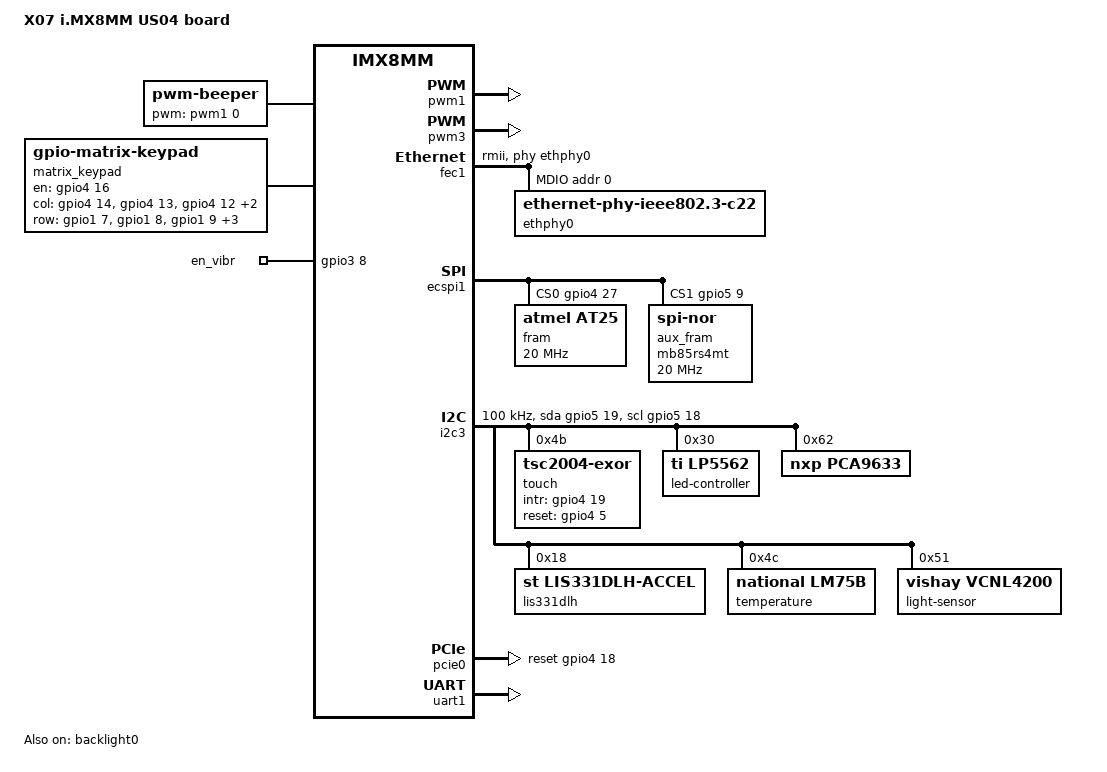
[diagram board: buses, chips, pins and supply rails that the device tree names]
/*
 * Copyright (C) 2019 Exor S.p.a
 * 
 * Written by: G. Pavoni Exor S.p.a.
 * 
 * Copyright (C) 2013 Freescale Semiconductor, Inc.
 *
 * This program is free software; you can redistribute it and/or modify
 * it under the terms of the GNU General Public License version 2 as
 * published by the Free Software Foundation.
 */
  
/dts-v1/;
  
#include "imx8mm_us04.dtsi"
#include <dt-bindings/leds/common.h>
  
/ {
	model = "X07 i.MX8MM US04 board";

	aliases {
		serial0 = &uart1;
		serial1 = &uart2;
		serial2 = &uart4;
	};
	
	beeper {
		compatible = "pwm-beeper";
		pwms = <&pwm1 0 50000 0>;
	};

	working_hours {
	  compatible = "working_hours";
	  nvmem-names = "eeprom", "rtcnvram";
	  nvmem = <&seeprom0>, <&m41t83>;
	  has-blight;
	  status = "okay";
	};	
	
	matrix_keypad {
		compatible = "gpio-matrix-keypad";
		pinctrl-names = "default";
		pinctrl-0 = <&pinctrl_keypad>;
		debounce-delay-ms = <20>;
		col-scan-delay-ms = <8>;
		gpio-activelow;
		gpio-colactivehigh;
		engpio = <&gpio4 16 0>;
		//shutdown-code=<0x003C003F>;	/* KEY_F2 (003C) + KEY_F5 (003F) */
		shutdown-count=<70>;		/* 70 * 70mS = 5 secs */
		status = "okay";

		/* Output */
		col-gpios = <
			&gpio4 14 0
			&gpio4 13 0
			&gpio4 12 0
			&gpio4 11 0
			&gpio4 10 0
		>;

		/* Input */
		row-gpios = <
			&gpio1  7 0
			&gpio1  8 0
			&gpio1  9 0
			&gpio4  7 0
			&gpio4  0 0
			&gpio4 15 0
		>;

		/* row << 24 | column << 16 | key-code */
		linux,keymap = <
			0x00000067	/* KEY_UP */
			0x00010069	/* KEY_LEFT */
			0x0002006c  /* KEY_DOWN */
			0x0003006a	/* KEY_RIGHT */
			0x00040041	/* KEY_F7 */

			0x0100003b	/* KEY_F1 */
			0x0101003c	/* KEY_F2 */
			0x0102003d  /* KEY_F3 */
			0x0103003e	/* KEY_F4 */
			0x0104003f	/* KEY_F5 */

			0x02000040	/* KEY_F6 */
			0x020100b8	/* KEY_F14 */
			0x02020058  /* KEY_F12 */
			0x020300b9	/* KEY_F15 */
			0x020400b7	/* KEY_F13 */

			0x03000057	/* KEY_F11 */
			0x03010044	/* KEY_F10 */
			0x03020043  /* KEY_F9 */
			0x03030042	/* KEY_F8 */
			0x0304001c  /* KEY_ENTER */	

			0x0400000b	/* KEY_0 */
			0x04010002	/* KEY_1 */
			0x04020003  /* KEY_2 */
			0x04030004	/* KEY_3 */
			0x04040005	/* KEY_4 */

			0x05000006	/* KEY_5 */
			0x05010007	/* KEY_6 */
			0x05020008  /* KEY_7 */
			0x05030009	/* KEY_8 */
			0x0504000a	/* KEY_9 */
		>;
	};
	
};

&leds{
        en_vibr@11 {
            label = "en_vibr";
            gpios = <&gpio3 8 GPIO_ACTIVE_HIGH>;
            default-state = "off";
        };
};
        
&backlight0 {
    compatible = "pwm-backlight";
    pwms = <&pwm3 0 50000 0>;
    brightness-levels = <0 4 8 12 16 20 24 28 32 36 40 44 48 52 56 60 64 68 72 76 80 84 88 92 96 100>;
    default-brightness-level = <0>;
    enable-gpios = <&gpio5 5 0>;
    status = "okay";
};

&pwm1 {
	pinctrl-names = "default";
	pinctrl-0 = <&pinctrl_pwm1>;
	status = "okay";
};

&pwm3 {
	pinctrl-names = "default";
	pinctrl-0 = <&pinctrl_pwm3>;
	status = "okay";
};

&fec1 {
	pinctrl-names = "default";
	pinctrl-0 = <&pinctrl_fec1>;
	phy-mode = "rmii";
	phy-handle = <&ethphy0>;
	fsl,magic-packet;
	status = "okay";

	mdio {
		#address-cells = <1>;
		#size-cells = <0>;

		ethphy0: ethernet-phy@0 {
			compatible = "ethernet-phy-ieee802.3-c22";
			max-speed = <100>;
			reg = <0>;
		};
	};
};

&ecspi1 {
    fsl,spi-num-chipselects = <2>;
    cs-gpios = <&gpio4 27 0>,  /* CS0 */
               <&gpio5  9 0>; /* CS1 */
    pinctrl-names = "default";
    pinctrl-0 = <&pinctrl_ecspi1_xs07>;
    status = "okay";
	
	/delete-node/ spi0@0;
	/delete-node/ spi0@1;
	/delete-node/ mcp3204@2;
	/delete-node/ at25@3;
	/delete-node/ n25q256a@4;
    
    fram: at25@0 {
        compatible = "atmel,at25", "st,m95256";
        reg = <0>;
        spi-max-frequency = <20000000>;
        pagesize = <64>;
        size = <65536>;
        address-width = <16>;
    };
    
    aux_fram: mb85rs4mt@1 {
        compatible = "jedec,spi-nor";
        reg = <1>;
        spi-max-frequency = <20000000>;
        #address-cells = <1>;
        #size-cells = <1>;
        m25p,fast-read;
        status = "okay";
    };    
};

&ecspi3 {
	/delete-property/dmas;
	/delete-property/dma-names;
};

&i2c3 {
	clock-frequency = <100000>;
	pinctrl-names = "default", "gpio";
	pinctrl-0 = <&pinctrl_i2c3>;
	pinctrl-1 = <&pinctrl_i2c3_gpio>;
	scl-gpios = <&gpio5 18 GPIO_ACTIVE_HIGH>;
	sda-gpios = <&gpio5 19 GPIO_ACTIVE_HIGH>;
	status = "okay";

	touch: touch@4b {
	  compatible = "tsc2004-exor";
	  reg = <0x4b>;
	  x-plate-ohms = <400>;
	  rt-th-ohms = <1500>;
	  intr-gpio = <&gpio4 19 0>; /* intr pin input */
	  reset-gpio = <&gpio4 5 0>; /* HW reset output */
	  
	  touchscreen-fuzz-x = <4>;
	  touchscreen-fuzz-y = <4>;
	  touchscreen-fuzz-pressure = <2>;
	  touchscreen-size-x = <4096>;
	  touchscreen-size-y = <4096>;
	  touchscreen-max-pressure = <2048>;
	};

	led-controller@30 {
		compatible = "ti,lp5562";
		reg = <0x30>;
		clock-mode = /bits/ 8 <1>;
		status = "okay";
		#address-cells = <1>;
		#size-cells = <0>;

		chan@0 {
			chan-name = "R";
			led-cur = /bits/ 8 <0x3C>;
			max-cur = /bits/ 8 <0x60>;
            color = <LED_COLOR_ID_RED>;
			reg = <0>;
		};

		chan@1 {
			chan-name = "G";
			led-cur = /bits/ 8 <0x20>;
			max-cur = /bits/ 8 <0x60>;
            color = <LED_COLOR_ID_GREEN>;
			reg = <1>;
		};

		chan@2 {
			chan-name = "B";
			led-cur = /bits/ 8 <0x60>;
			max-cur = /bits/ 8 <0x60>;
            color = <LED_COLOR_ID_BLUE>;
			reg = <2>;
		};

		chan@3 {
			chan-name = "W";
			led-cur = /bits/ 8 <0x0>;
			max-cur = /bits/ 8 <0x0>;
            color = <LED_COLOR_ID_WHITE>;
			reg = <3>;
		};
	};	
	pca9633@62 {
		compatible = "nxp,pca9633";
		#address-cells = <1>;
		#size-cells = <0>;
		reg = <0x62>;
		
		red@0 {
			label = "red";
			reg = <0>;
			linux,default-trigger = "none";
		};
		green@1 {
			label = "green";
			reg = <1>;
			linux,default-trigger = "none";
		};
		blue@2 {
			label = "blue";
			reg = <2>;
			linux,default-trigger = "none";
		};
		unused@3 {
			label = "unused";
			reg = <3>;
			linux,default-trigger = "none";
		};
	};	
	
	lis331dlh@18 {
		/* Accelerometer */
		compatible = "st,lis331dlh-accel";
		reg = <0x18>;
	};
	
	temperature:lm75b@4c {
		compatible = "national,lm75b";
		reg = <0x4c>;
	};
	
	light-sensor@51 {
		compatible = "vishay,vcnl4200";
		reg = <0x51>;
		proximity-near-level = <220>;
	};	
};

&pcie0{
	pinctrl-names = "default";
	pinctrl-0 = <&pinctrl_pcie0>;
	reset-gpio = <&gpio4 18 0>;
	ext_osc = <1>;
	fsl,max-link-speed = <1>;
	status = "okay";
};

&uart1 { /* Main UART */
	/delete-property/dmas;
	/delete-property/dma-names;
	pinctrl-names = "default";
	pinctrl-0 = <&pinctrl_uart1>;
	fsl,uart-has-rtscts;
	rts-gpio = <&gpio1 1 0>;
	mode-gpio = <&gpio1 0 0>;
	rxen-gpio = <&gpio1 3 0>;

	dcd-gpios = <&gpio3 16 0>;
	rng-gpios = <&gpio3 2 0>;
	dsr-gpios = <&gpio3 1 0>;
	dtr-gpios = <&gpio3 3 0>;

	status = "okay";
};

&iomuxc {
	imx8mm-evk {

		pinctrl_hog: hoggrp {
			fsl,pins = <
				MX8MM_IOMUXC_GPIO1_IO12_GPIO1_IO12      0x1c4   /* USB1 VBUS */
				MX8MM_IOMUXC_GPIO1_IO14_GPIO1_IO14      0x1c4   /* USB2 VBUS */
				MX8MM_IOMUXC_SPDIF_RX_GPIO5_IO4         0x1c4   /* EN_VDD */
				MX8MM_IOMUXC_SAI1_RXD3_GPIO4_IO5        0x1c4   /* Touch reset*/
				MX8MM_IOMUXC_SAI1_TXD7_GPIO4_IO19       0x1c4   /* Touch intr */
				MX8MM_IOMUXC_SAI5_RXC_GPIO3_IO20        0x1c4   /* spigo1 */
				MX8MM_IOMUXC_SAI5_RXFS_GPIO3_IO19       0x1c4   /* spigo2 */
				MX8MM_IOMUXC_NAND_DATA02_GPIO3_IO8      0x1c4   /* en_vibr */
			>;
		};

		pinctrl_pwm3: pwm3grp {
			fsl,pins = <
				MX8MM_IOMUXC_SPDIF_TX_PWM3_OUT            0x1c4
				MX8MM_IOMUXC_SPDIF_EXT_CLK_GPIO5_IO5      0x1c4
			>;
		};

		pinctrl_pwm1: pwm1grp {
			fsl,pins = <
				MX8MM_IOMUXC_I2C4_SDA_PWM1_OUT            0x1c4
			>;
		};

		pinctrl_pcie0: pcie0grp {
			fsl,pins = <
				MX8MM_IOMUXC_SAI1_TXD6_GPIO4_IO18	0x1c4
			>;
		};

		pinctrl_fec1: fec1grp {
			fsl,pins = <
				MX8MM_IOMUXC_ENET_MDC_ENET1_MDC		0x3
				MX8MM_IOMUXC_ENET_MDIO_ENET1_MDIO	0x3
				MX8MM_IOMUXC_ENET_TD2_ENET1_TX_CLK	0x4000001f
				MX8MM_IOMUXC_ENET_TD1_ENET1_RGMII_TD1	0x56
				MX8MM_IOMUXC_ENET_TD0_ENET1_RGMII_TD0	0x56
				MX8MM_IOMUXC_ENET_RD1_ENET1_RGMII_RD1	0x56
				MX8MM_IOMUXC_ENET_RD0_ENET1_RGMII_RD0	0x56
				MX8MM_IOMUXC_ENET_RXC_ENET1_RX_ER	0x56
				MX8MM_IOMUXC_ENET_RX_CTL_ENET1_RGMII_RX_CTL	0x56
				MX8MM_IOMUXC_ENET_TX_CTL_ENET1_RGMII_TX_CTL	0x56
			>;
		};
		
		pinctrl_ecspi1_xs07: ecspi1grp_xs07 {
			fsl,pins = <
				MX8MM_IOMUXC_ECSPI1_SCLK_ECSPI1_SCLK    0x11
				MX8MM_IOMUXC_ECSPI1_MOSI_ECSPI1_MOSI    0x11
				MX8MM_IOMUXC_ECSPI1_MISO_ECSPI1_MISO    0x11
				MX8MM_IOMUXC_ECSPI1_SS0_GPIO5_IO9       0x11
				MX8MM_IOMUXC_SAI2_MCLK_GPIO4_IO27       0x11
			>;
		};
		
        pinctrl_i2c3: i2c3grp {
			fsl,pins = <
				MX8MM_IOMUXC_I2C3_SCL_I2C3_SCL			0x400001c3
				MX8MM_IOMUXC_I2C3_SDA_I2C3_SDA			0x400001c3
			>;
		};

		pinctrl_i2c3_gpio: i2c3grpgpio {
			fsl,pins = <
				MX8MM_IOMUXC_I2C3_SCL_GPIO5_IO18        0x1c4
				MX8MM_IOMUXC_I2C3_SDA_GPIO5_IO19        0x1c4
			>;
		};
		
		pinctrl_keypad: keypadgrp {
			fsl,pins = <
				MX8MM_IOMUXC_SAI1_TXD2_GPIO4_IO14       0x184   /* COL0 */
				MX8MM_IOMUXC_SAI1_TXD1_GPIO4_IO13       0x184   /* COL1 */
				MX8MM_IOMUXC_SAI1_TXD0_GPIO4_IO12       0x184   /* COL2 */
				MX8MM_IOMUXC_SAI1_TXC_GPIO4_IO11        0x184   /* COL3 */
				MX8MM_IOMUXC_SAI1_TXFS_GPIO4_IO10       0x184   /* COL4 */
				MX8MM_IOMUXC_SAI1_MCLK_GPIO4_IO20       0x184   /* COL5 (not used) */
				
				MX8MM_IOMUXC_GPIO1_IO07_GPIO1_IO7       0x184   /* row0 */
				MX8MM_IOMUXC_GPIO1_IO08_GPIO1_IO8       0x184   /* row1 */
				MX8MM_IOMUXC_GPIO1_IO09_GPIO1_IO9       0x184   /* row2 */
				MX8MM_IOMUXC_SAI1_RXD5_GPIO4_IO7        0x184   /* row3 */
				MX8MM_IOMUXC_SAI1_RXFS_GPIO4_IO0        0x184   /* row4 */
				MX8MM_IOMUXC_SAI1_TXD3_GPIO4_IO15       0x184   /* row5 */
				
				MX8MM_IOMUXC_SAI1_TXD4_GPIO4_IO16       0x184   /* en_keybd */
			>;
		};
		
		pinctrl_uart1: uart1grp {
			fsl,pins = <
				MX8MM_IOMUXC_SAI2_RXFS_UART1_DCE_TX     0x140
				MX8MM_IOMUXC_SAI2_RXC_UART1_DCE_RX      0x140
				MX8MM_IOMUXC_SAI2_RXD0_UART1_DCE_RTS_B	0x140
				MX8MM_IOMUXC_SAI2_TXFS_UART1_DCE_CTS_B	0x140
				
				MX8MM_IOMUXC_GPIO1_IO03_GPIO1_IO3   0x11
				MX8MM_IOMUXC_GPIO1_IO01_GPIO1_IO1   0x11
				MX8MM_IOMUXC_GPIO1_IO00_GPIO1_IO0   0x11
			>;
		};		
	};
};

